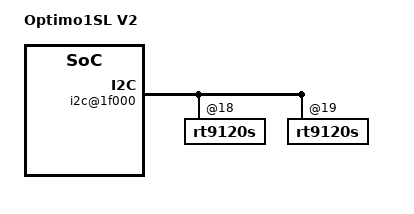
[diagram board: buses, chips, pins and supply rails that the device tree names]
/*
 * Copyright (c) 2021, Sonos, Inc.
 *
 * SPDX-License-Identifier:     GPL-2.0
 *
 * v0	- Optimo1SL p2a [first SL build came as part of p2a, with Richtek, no TI amp SLs]
 * v1	- Optimo1SL p2b - BT sync change
 * v2	- Optimo1SL EVT - NTC temp sensors, lumissil LED
 */

/dts-v1/;

#include "optimo_common.dtsi"
#include "s767_1gbddr.dtsi"

/ {
	model = "Optimo1SL V2";

        sonos-product-id = <0x02>;

	sonos-platform {
		thermal-mgmt {
			   CPU {
                                compatible = "sonos,temp-ncu15";
                                adc-channel = <1>;
                                fault-temperature = <100>;
                                warn-temperature = <95>;
                                temperature-map {
                                        num-ranges = <10>;
                                        // max mV for range, a in range, b in range
                                        //   (linear ax +- b)
                                        //
                                        map-values = <  1500	249	273050
							2000	254	279520
							2400	271	313370
							2750	305	395220
							3000	358	540770
							3250	448	811180
							3500	605	1323700
							3700	883	2324500
							3800	1346	4033300
							4096	1808	5786900 >;
                                };
			};
			/delete-node/ AMP;
		};
                /* No mic switch on SL */
                /delete-node/ gpio-switch;
	};

	memory@00000000 {
		device_type = "memory";
		linux,usable-memory = <0x0 0x000000 0x0 0x40000000>;
	};

	thermal-zones {
                /delete-node/ cputhermal;
                /delete-node/ ampthermal;
        };

	/* No mics on SL */
	/delete-node/ sonos-gpio-micctl;
	/delete-node/ micctl@1;

	soc {
		cbus@ffd00000 {
			i2c@1f000 {
				/delete-node/ tmp102@49;
				rt9120s@18 {
					status = "okay";
				};
				rt9120s@19 {
					/delete-property/ parallel-play;
					init-sequence-length2 = <15>;
					reg-init2 = < 0x63 0xDE 0x6C 0xC0 0x07 0x36 0x65 0x66 0x06 0x28
						0x02 0x03 0xA0 0x01 0xA1 0x08 0xA2 0x0C 0x27 0x01B0 0x20 0x0180 0x0c 0x38 0x09 0x81 0x6e 0x1d 0x10 0x00>;
					status = "okay";
				};
			};
			i2c@1d000 {
				/delete-node/ tmp102@48;
			};
		};
		aobus@ff800000 {
			i2c@5000 {
				/delete-node/ lp5562@0 ;
			};
		};
	};
};

#include "optimo1_captouch.dtsi"
